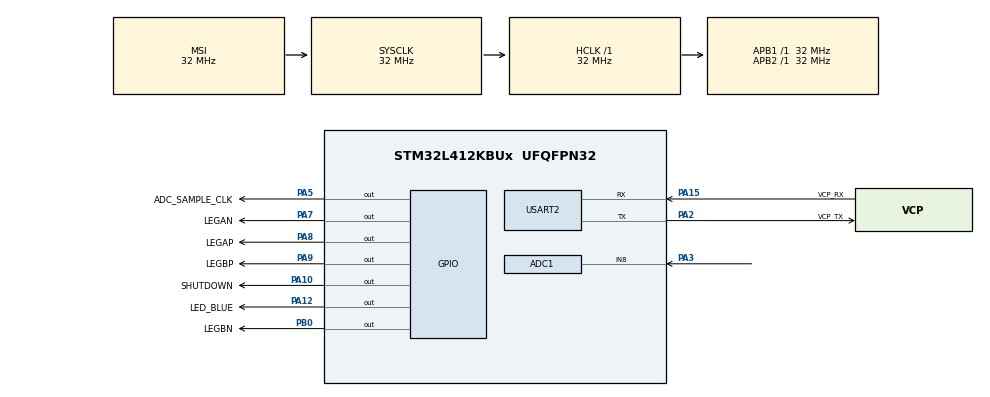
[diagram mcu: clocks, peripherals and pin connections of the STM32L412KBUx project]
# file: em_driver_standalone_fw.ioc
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ADC1.Channel-2\#ChannelRegularConversion=ADC_CHANNEL_8
ADC1.ClockPrescaler=ADC_CLOCK_ASYNC_DIV1
ADC1.ContinuousConvMode=DISABLE
ADC1.NbrOfConversionFlag=1
ADC1.OffsetNumber-2\#ChannelRegularConversion=ADC_OFFSET_NONE
ADC1.Rank-2\#ChannelRegularConversion=1
ADC1.SamplingTime-2\#ChannelRegularConversion=ADC_SAMPLETIME_2CYCLES_5
ADC1.master=1
Mcu.Family=STM32L4
Mcu.Name=STM32L412KBUx
Mcu.Package=UFQFPN32
NVIC.ADC1_2_IRQn=true\:0\:0\:false\:false\:true\:true\:true\:true
NVIC.PriorityGroup=NVIC_PRIORITYGROUP_4
NVIC.TIM2_IRQn=true\:0\:0\:false\:false\:true\:true\:true\:true
NVIC.USART2_IRQn=true\:0\:0\:false\:false\:true\:true\:true\:true
PA0-CK_IN.Mode=HSE-External-Clock-Source-for-LittleOrca
PA0-CK_IN.Signal=RCC_CK_IN
PA10.GPIO_Label=SHUTDOWN
PA10.Signal=GPIO_Output
PA12.GPIO_Label=LED_BLUE
PA12.Signal=GPIO_Output
PA13\ (JTMS/SWDIO).GPIO_Label=SWDIO
PA13\ (JTMS/SWDIO).Mode=Serial_Wire
PA13\ (JTMS/SWDIO).Signal=SYS_JTMS-SWDIO
PA14\ (JTCK/SWCLK).GPIO_Label=SWCLK
PA14\ (JTCK/SWCLK).Mode=Serial_Wire
PA14\ (JTCK/SWCLK).Signal=SYS_JTCK-SWCLK
PA15\ (JTDI).GPIO_Label=VCP_RX
PA15\ (JTDI).Mode=Asynchronous
PA15\ (JTDI).Signal=USART2_RX
PA2.GPIO_Label=VCP_TX
PA2.Mode=Asynchronous
PA2.Signal=USART2_TX
PA3.Signal=ADCx_IN8
PA5.GPIO_Label=ADC_SAMPLE_CLK
PA5.Signal=GPIO_Output
PA7.GPIO_Label=LEGAN
PA7.Signal=GPIO_Output
PA8.GPIO_Label=LEGAP
PA8.Signal=GPIO_Output
PA9.GPIO_Label=LEGBP
PA9.Signal=GPIO_Output
PB0.GPIO_Label=LEGBN
PB0.Signal=GPIO_Output
PC14-OSC32_IN\ (PC14).Mode=LSE-External-Oscillator
PC14-OSC32_IN\ (PC14).Signal=RCC_OSC32_IN
PC15-OSC32_OUT\ (PC15).Mode=LSE-External-Oscillator
PC15-OSC32_OUT\ (PC15).Signal=RCC_OSC32_OUT
ProjectManager.HeapSize=0x200
ProjectManager.StackSize=0x400
ProjectManager.TargetToolchain=STM32CubeIDE
RCC.ADCFreq_Value=32000000
RCC.AHBFreq_Value=32000000
RCC.APB1Freq_Value=32000000
RCC.APB1TimFreq_Value=32000000
RCC.APB2Freq_Value=32000000
RCC.APB2TimFreq_Value=32000000
RCC.CortexFreq_Value=32000000
RCC.FLatency=FLASH_LATENCY_1
RCC.HCLKFreq_Value=32000000
RCC.HSE_VALUE=8000000
RCC.HSI48_VALUE=48000000
RCC.HSICalibrationValue=16
RCC.HSI_VALUE=16000000
RCC.LSE_Drive_Capability=RCC_LSEDRIVE_LOW
RCC.MSIClockRange=RCC_MSIRANGE_10
RCC.MSI_VALUE=32000000
RCC.SYSCLKFreq_VALUE=32000000
RCC.USBFreq_Value=32000000
RCC.VCOOutputFreq_Value=256000000
SH.ADCx_IN8.0=ADC1_IN8,IN8-Single-Ended
TIM2.Period=10
TIM2.Prescaler=320-1
USART2.VirtualMode-Asynchronous=VM_ASYNC
VP_TIM2_VS_ClockSourceINT.Mode=Internal
board=NUCLEO-L412KB

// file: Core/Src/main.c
/* USER CODE BEGIN Header */
/**
 ******************************************************************************
 * @file           : main.c
 * @brief          : Main program body
 ******************************************************************************
This project contains the firmware code for the STM32LK432B for the MSRL electrostimulation driver.
/*
/* USER CODE END Header */
#include "main.h"

/* USER CODE BEGIN Includes */
#include "string.h"
#include <stdbool.h>
/* USER CODE END Includes */

/* USER CODE BEGIN PD */
//if AUTOSTART is defined, the output will be automatically be enabled after startup
#define AUTOSTART
/* USER CODE END PD */

ADC_HandleTypeDef hadc1;

TIM_HandleTypeDef htim2;

UART_HandleTypeDef huart2;

void SystemClock_Config(void);
static void MX_GPIO_Init(void);
static void MX_USART2_UART_Init(void);
static void MX_TIM2_Init(void);
static void MX_ADC1_Init(void);
/* USER CODE BEGIN PFP */
#define ISENSTVTY 0.1 	//current sensor sensitivity in V/A
float convert_current(uint32_t adcout){
	return (3.3/4096*adcout-1.5)/(ISENSTVTY)+0.9;
}
void setplus(void){
	HAL_GPIO_WritePin(LEGAP_GPIO_Port, LEGAP_Pin, GPIO_PIN_SET);
	HAL_GPIO_WritePin(LEGAN_GPIO_Port, LEGAN_Pin, GPIO_PIN_RESET);
	HAL_GPIO_WritePin(LEGBP_GPIO_Port, LEGBP_Pin, GPIO_PIN_RESET);
	HAL_GPIO_WritePin(LEGBN_GPIO_Port, LEGBN_Pin, GPIO_PIN_SET);
}
void setminus(void){
	HAL_GPIO_WritePin(LEGAP_GPIO_Port, LEGAP_Pin, GPIO_PIN_RESET);
	HAL_GPIO_WritePin(LEGAN_GPIO_Port, LEGAN_Pin, GPIO_PIN_SET);
	HAL_GPIO_WritePin(LEGBP_GPIO_Port, LEGBP_Pin, GPIO_PIN_SET);
	HAL_GPIO_WritePin(LEGBN_GPIO_Port, LEGBN_Pin, GPIO_PIN_RESET);
}
void setnull(void){
	HAL_GPIO_WritePin(LEGAP_GPIO_Port, LEGAP_Pin, GPIO_PIN_RESET);
	HAL_GPIO_WritePin(LEGAN_GPIO_Port, LEGAN_Pin, GPIO_PIN_RESET);
	HAL_GPIO_WritePin(LEGBP_GPIO_Port, LEGBP_Pin, GPIO_PIN_RESET);
	HAL_GPIO_WritePin(LEGBN_GPIO_Port, LEGBN_Pin, GPIO_PIN_RESET);
}
void setbothminus(void){
	HAL_GPIO_WritePin(LEGAP_GPIO_Port, LEGAP_Pin, GPIO_PIN_RESET);
	HAL_GPIO_WritePin(LEGAN_GPIO_Port, LEGAN_Pin, GPIO_PIN_SET);
	HAL_GPIO_WritePin(LEGBP_GPIO_Port, LEGBP_Pin, GPIO_PIN_RESET);
	HAL_GPIO_WritePin(LEGBN_GPIO_Port, LEGBN_Pin, GPIO_PIN_SET);
}

/* USER CODE END PFP */

/* USER CODE BEGIN 0 */
// UART related definitions
float duty=0.0;
uint32_t period = 1024; // initial counter corresponds to f_pwm=1.12kHz
uint8_t uart_rx_symbol;
#define UART_BUFFER_SIZE 32
uint8_t rx_buffer_counter;
uint8_t rx_buffer[UART_BUFFER_SIZE];
uint8_t tx_buffer[UART_BUFFER_SIZE];
// commands & fsm
#define COMMAND_LENGTH 4
const uint8_t CMD_START[] = "STRT";
const uint8_t CMD_STOP[] = "STOP";
const uint8_t CMD_CNTR[] = "CNTR";
// ADC related variables
#define ADC_BUFFER_SIZE 1024
uint32_t adc_val = 0;
uint16_t adc_buffer_counter = 0;
float current_meas=0.0;
float adc_buffer[ADC_BUFFER_SIZE];
// pwm frequency related variables
uint32_t des_freq_mHz = 0;

//tolerance band control relate
enum tolbandstate{
	INIT,
	VNULLTOPLUS,
	VNULLTOMINUS,
	VMINUS,
	VPLUS
};
enum tolbandstate state=INIT;
float iref=5.0;
float deltai=0.1;
bool run_main=false;
unsigned int loopcounter=0;
unsigned int counterlim=1000;

/* USER CODE END 0 */

int main(void)
{

  /* MCU Configuration--------------------------------------------------------*/

  /* Reset of all peripherals, Initializes the Flash interface and the Systick. */
  HAL_Init();

  /* Configure the system clock */
  SystemClock_Config();

  /* Initialize all configured peripherals */
  MX_GPIO_Init();
  MX_USART2_UART_Init();
  MX_TIM2_Init();
  MX_ADC1_Init();
  /* USER CODE BEGIN 2 */

  ADC12_COMMON->CCR |= (1U << 17U);
  HAL_Delay(1000);
  if (HAL_ADCEx_Calibration_Start(&hadc1,ADC_SINGLE_ENDED) != HAL_OK){
	  Error_Handler();
  }
  HAL_Delay(1000);
  ADC_Enable(&hadc1);
  HAL_Delay(1000);

  // setup PWM on Timer1 channel 1 and channel 2
  //__HAL_TIM_SET_COMPARE(&htim1, TIM_CHANNEL_1, period / 2);
  //HAL_TIM_PWM_Start(&htim1, TIM_CHANNEL_1);
  //HAL_TIMEx_PWMN_Start(&htim1, TIM_CHANNEL_1);
  //__HAL_TIM_SET_COMPARE(&htim1, TIM_CHANNEL_2, period / 2);
  //HAL_TIM_PWM_Start(&htim1, TIM_CHANNEL_2);
  //HAL_TIMEx_PWMN_Start(&htim1, TIM_CHANNEL_2);
  //htim1.Init.Period = period;
 //HAL_TIM_PWM_Init(&htim1);
  // light up LED3
  HAL_GPIO_WritePin(LED_BLUE_GPIO_Port, LED_BLUE_Pin, GPIO_PIN_SET);
  HAL_ADC_Start_IT(&hadc1);
  // start Timer2 which triggers ADC sampling
  HAL_TIM_Base_Start_IT(&htim2);

#ifdef AUTOSTART
  // enable half-bridge drive
  HAL_GPIO_WritePin(SHUTDOWN_GPIO_Port, SHUTDOWN_Pin, GPIO_PIN_RESET);
#endif

  /* USER CODE END 2 */

  /* Infinite loop */
  while (1)
  {

    /* USER CODE BEGIN 3 */
	  if(run_main){
		  HAL_GPIO_TogglePin(LED_BLUE_GPIO_Port, LED_BLUE_Pin);
		//perform the state transition
		  switch(state){
		  case INIT:
			  if(current_meas<iref)
				  state=VNULLTOPLUS;
			  else
				  state=VNULLTOMINUS;
			  break;
		  case VNULLTOPLUS:
			  state=VPLUS;
			  break;
		  case VNULLTOMINUS:
			  state=VMINUS;
			  break;
		  case VMINUS:
			  if(current_meas<(iref-deltai))
				  state=VNULLTOPLUS;
			  else
				  state=VMINUS;
			  break;
		  case VPLUS:
			  if(current_meas>(iref+deltai))
				  state=VNULLTOMINUS;
			  else
				  state=VPLUS;
			  break;
		  }
		  //apply output signals
		  switch(state){
		  case INIT:
			  setbothminus();
			  break;
		  case VNULLTOPLUS:
			  setnull();
			  break;
		  case VNULLTOMINUS:
			  setnull();
			  break;
		  case VPLUS:
			  setplus();
			  break;
		  case VMINUS:
			  setminus();
			  break;
		  }

		// read a single character in interrupt mode
		HAL_UART_Receive_IT(&huart2, &uart_rx_symbol, 1);
		// HAL_UART_Transmit(&huart2,uart_tx_buffer,5,100);
		run_main=false;
		if(loopcounter>=counterlim){
			loopcounter=0;
			iref=-1*iref;
		}
		else
			loopcounter++;
	  }
  }
  /* USER CODE END 3 */
}

void SystemClock_Config(void)
{
  RCC_OscInitTypeDef RCC_OscInitStruct = {0};
  RCC_ClkInitTypeDef RCC_ClkInitStruct = {0};

  /** Configure the main internal regulator output voltage
  */
  if (HAL_PWREx_ControlVoltageScaling(PWR_REGULATOR_VOLTAGE_SCALE1) != HAL_OK)
  {
    Error_Handler();
  }

  /** Configure LSE Drive Capability
  */
  HAL_PWR_EnableBkUpAccess();
  __HAL_RCC_LSEDRIVE_CONFIG(RCC_LSEDRIVE_LOW);

  /** Initializes the RCC Oscillators according to the specified parameters
  * in the RCC_OscInitTypeDef structure.
  */
  RCC_OscInitStruct.OscillatorType = RCC_OSCILLATORTYPE_LSE|RCC_OSCILLATORTYPE_MSI;
  RCC_OscInitStruct.LSEState = RCC_LSE_ON;
  RCC_OscInitStruct.MSIState = RCC_MSI_ON;
  RCC_OscInitStruct.MSICalibrationValue = 0;
  RCC_OscInitStruct.MSIClockRange = RCC_MSIRANGE_10;
  RCC_OscInitStruct.PLL.PLLState = RCC_PLL_NONE;
  if (HAL_RCC_OscConfig(&RCC_OscInitStruct) != HAL_OK)
  {
    Error_Handler();
  }

  /** Initializes the CPU, AHB and APB buses clocks
  */
  RCC_ClkInitStruct.ClockType = RCC_CLOCKTYPE_HCLK|RCC_CLOCKTYPE_SYSCLK
                              |RCC_CLOCKTYPE_PCLK1|RCC_CLOCKTYPE_PCLK2;
  RCC_ClkInitStruct.SYSCLKSource = RCC_SYSCLKSOURCE_MSI;
  RCC_ClkInitStruct.AHBCLKDivider = RCC_SYSCLK_DIV1;
  RCC_ClkInitStruct.APB1CLKDivider = RCC_HCLK_DIV1;
  RCC_ClkInitStruct.APB2CLKDivider = RCC_HCLK_DIV1;

  if (HAL_RCC_ClockConfig(&RCC_ClkInitStruct, FLASH_LATENCY_1) != HAL_OK)
  {
    Error_Handler();
  }

  /** Enable MSI Auto calibration
  */
  HAL_RCCEx_EnableMSIPLLMode();
}

static void MX_ADC1_Init(void)
{

  ADC_MultiModeTypeDef multimode = {0};
  ADC_ChannelConfTypeDef sConfig = {0};

  /** Common config
  */
  hadc1.Instance = ADC1;
  hadc1.Init.ClockPrescaler = ADC_CLOCK_ASYNC_DIV1;
  hadc1.Init.Resolution = ADC_RESOLUTION_12B;
  hadc1.Init.DataAlign = ADC_DATAALIGN_RIGHT;
  hadc1.Init.ScanConvMode = ADC_SCAN_DISABLE;
  hadc1.Init.EOCSelection = ADC_EOC_SINGLE_CONV;
  hadc1.Init.LowPowerAutoWait = DISABLE;
  hadc1.Init.ContinuousConvMode = DISABLE;
  hadc1.Init.NbrOfConversion = 1;
  hadc1.Init.DiscontinuousConvMode = DISABLE;
  hadc1.Init.ExternalTrigConv = ADC_SOFTWARE_START;
  hadc1.Init.ExternalTrigConvEdge = ADC_EXTERNALTRIGCONVEDGE_NONE;
  hadc1.Init.DMAContinuousRequests = DISABLE;
  hadc1.Init.Overrun = ADC_OVR_DATA_PRESERVED;
  hadc1.Init.OversamplingMode = DISABLE;
  if (HAL_ADC_Init(&hadc1) != HAL_OK)
  {
    Error_Handler();
  }

  /** Configure the ADC multi-mode
  */
  multimode.Mode = ADC_MODE_INDEPENDENT;
  if (HAL_ADCEx_MultiModeConfigChannel(&hadc1, &multimode) != HAL_OK)
  {
    Error_Handler();
  }

  /** Configure Regular Channel
  */
  sConfig.Channel = ADC_CHANNEL_8;
  sConfig.Rank = ADC_REGULAR_RANK_1;
  sConfig.SamplingTime = ADC_SAMPLETIME_2CYCLES_5;
  sConfig.SingleDiff = ADC_SINGLE_ENDED;
  sConfig.OffsetNumber = ADC_OFFSET_NONE;
  sConfig.Offset = 0;
  if (HAL_ADC_ConfigChannel(&hadc1, &sConfig) != HAL_OK)
  {
    Error_Handler();
  }

}

static void MX_TIM2_Init(void)
{

  TIM_ClockConfigTypeDef sClockSourceConfig = {0};
  TIM_MasterConfigTypeDef sMasterConfig = {0};

  htim2.Instance = TIM2;
  htim2.Init.Prescaler = 320-1;
  htim2.Init.CounterMode = TIM_COUNTERMODE_UP;
  htim2.Init.Period = 10;
  htim2.Init.ClockDivision = TIM_CLOCKDIVISION_DIV1;
  htim2.Init.AutoReloadPreload = TIM_AUTORELOAD_PRELOAD_DISABLE;
  if (HAL_TIM_Base_Init(&htim2) != HAL_OK)
  {
    Error_Handler();
  }
  sClockSourceConfig.ClockSource = TIM_CLOCKSOURCE_INTERNAL;
  if (HAL_TIM_ConfigClockSource(&htim2, &sClockSourceConfig) != HAL_OK)
  {
    Error_Handler();
  }
  sMasterConfig.MasterOutputTrigger = TIM_TRGO_RESET;
  sMasterConfig.MasterSlaveMode = TIM_MASTERSLAVEMODE_DISABLE;
  if (HAL_TIMEx_MasterConfigSynchronization(&htim2, &sMasterConfig) != HAL_OK)
  {
    Error_Handler();
  }

}

static void MX_USART2_UART_Init(void)
{

  huart2.Instance = USART2;
  huart2.Init.BaudRate = 115200;
  huart2.Init.WordLength = UART_WORDLENGTH_8B;
  huart2.Init.StopBits = UART_STOPBITS_1;
  huart2.Init.Parity = UART_PARITY_NONE;
  huart2.Init.Mode = UART_MODE_TX_RX;
  huart2.Init.HwFlowCtl = UART_HWCONTROL_NONE;
  huart2.Init.OverSampling = UART_OVERSAMPLING_16;
  huart2.Init.OneBitSampling = UART_ONE_BIT_SAMPLE_DISABLE;
  huart2.AdvancedInit.AdvFeatureInit = UART_ADVFEATURE_NO_INIT;
  if (HAL_UART_Init(&huart2) != HAL_OK)
  {
    Error_Handler();
  }

}

static void MX_GPIO_Init(void)
{
  GPIO_InitTypeDef GPIO_InitStruct = {0};

  /* GPIO Ports Clock Enable */
  __HAL_RCC_GPIOC_CLK_ENABLE();
  __HAL_RCC_GPIOA_CLK_ENABLE();
  __HAL_RCC_GPIOB_CLK_ENABLE();

  /*Configure GPIO pin Output Level */
  HAL_GPIO_WritePin(GPIOA, ADC_SAMPLE_CLK_Pin|LEGAN_Pin|LEGAP_Pin|LEGBP_Pin
                          |SHUTDOWN_Pin|LED_BLUE_Pin, GPIO_PIN_RESET);

  /*Configure GPIO pin Output Level */
  HAL_GPIO_WritePin(LEGBN_GPIO_Port, LEGBN_Pin, GPIO_PIN_RESET);

  /*Configure GPIO pins : ADC_SAMPLE_CLK_Pin LEGAN_Pin LEGAP_Pin LEGBP_Pin
                           SHUTDOWN_Pin LED_BLUE_Pin */
  GPIO_InitStruct.Pin = ADC_SAMPLE_CLK_Pin|LEGAN_Pin|LEGAP_Pin|LEGBP_Pin
                          |SHUTDOWN_Pin|LED_BLUE_Pin;
  GPIO_InitStruct.Mode = GPIO_MODE_OUTPUT_PP;
  GPIO_InitStruct.Pull = GPIO_NOPULL;
  GPIO_InitStruct.Speed = GPIO_SPEED_FREQ_LOW;
  HAL_GPIO_Init(GPIOA, &GPIO_InitStruct);

  /*Configure GPIO pin : LEGBN_Pin */
  GPIO_InitStruct.Pin = LEGBN_Pin;
  GPIO_InitStruct.Mode = GPIO_MODE_OUTPUT_PP;
  GPIO_InitStruct.Pull = GPIO_NOPULL;
  GPIO_InitStruct.Speed = GPIO_SPEED_FREQ_LOW;
  HAL_GPIO_Init(LEGBN_GPIO_Port, &GPIO_InitStruct);

}

/* USER CODE BEGIN 4 */

void HAL_TIM_PeriodElapsedCallback(TIM_HandleTypeDef *htim)
{
  // HAL_GPIO_TogglePin(LD3_GPIO_Port, LD3_Pin);
  run_main=true;
  HAL_ADC_Start_IT(&hadc1);

}

void HAL_UART_RxCpltCallback(UART_HandleTypeDef *huart)
{
  // a command ends with the '\n' character
  if (uart_rx_symbol == '\n')
  {
    rx_buffer[rx_buffer_counter] = 0;
    process_command();
    return;
  }
  else
  {
    // write the received symbol to the buffer
    rx_buffer[rx_buffer_counter] = uart_rx_symbol;
  }
  if (rx_buffer_counter == UART_BUFFER_SIZE)
  {
    // circular buffer
    rx_buffer_counter = 0;
  }
  else
  {
    rx_buffer_counter = rx_buffer_counter + 1;
  }
}

void HAL_ADC_ConvCpltCallback(ADC_HandleTypeDef *hadc)
{
	HAL_GPIO_TogglePin(ADC_SAMPLE_CLK_GPIO_Port, ADC_SAMPLE_CLK_Pin);
  adc_buffer[adc_buffer_counter] = convert_current(HAL_ADC_GetValue(&hadc1));
  current_meas=adc_buffer[adc_buffer_counter];
  adc_buffer_counter = (adc_buffer_counter + 1) % ADC_BUFFER_SIZE;
}

void process_command(void)
{
  if (strcmp(CMD_START, rx_buffer) == 0)
  {
    // execute START command
    HAL_GPIO_TogglePin(LED_BLUE_GPIO_Port, LED_BLUE_Pin);
    HAL_GPIO_WritePin(SHUTDOWN_GPIO_Port, SHUTDOWN_Pin, GPIO_PIN_RESET);
  }
  if (strcmp(CMD_STOP, rx_buffer) == 0)
  {
    // execute STOP command
    HAL_GPIO_TogglePin(LED_BLUE_GPIO_Port, LED_BLUE_Pin);
    HAL_GPIO_WritePin(SHUTDOWN_GPIO_Port, SHUTDOWN_Pin, GPIO_PIN_SET);
  }
  if (strcmp(CMD_CNTR, rx_buffer) == 0)
  {
    // set the desired frequency
    uint32_t period = atoi(rx_buffer + COMMAND_LENGTH + 1);
    //__HAL_TIM_SET_COMPARE(&htim1, TIM_CHANNEL_2, period / 2);
    //__HAL_TIM_SET_COMPARE(&htim1, TIM_CHANNEL_1, period / 2);
    //htim1.Init.Period = period;
    //HAL_TIM_PWM_Init(&htim1);
  }
  // reset the buffer counter
  rx_buffer_counter = 0;
}

/* USER CODE END 4 */

void Error_Handler(void)
{
  __disable_irq();
  while (1)
  {
  }
}
